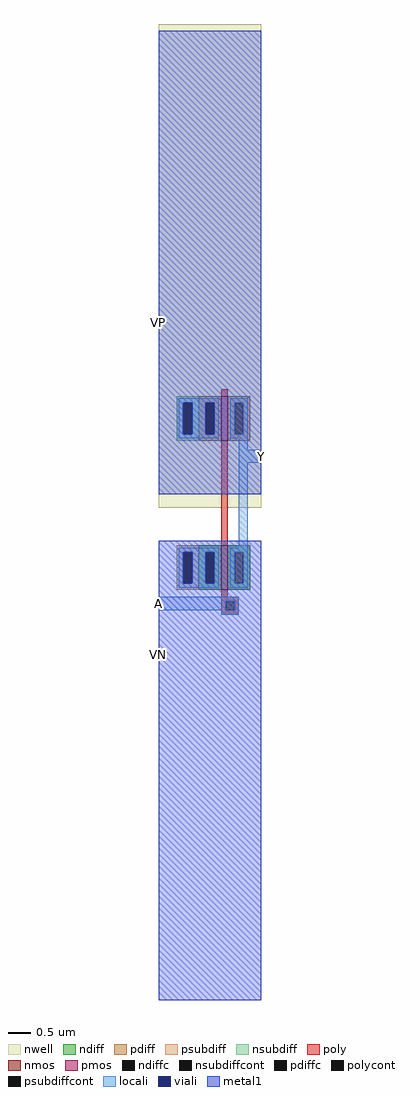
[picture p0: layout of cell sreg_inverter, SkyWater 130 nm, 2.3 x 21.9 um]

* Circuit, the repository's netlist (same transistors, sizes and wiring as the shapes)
* NGSPICE file created from sreg_inverter.ext - technology: sky130A

X0 Y A VN VN sky130_fd_pr__nfet_01v8 ad=0.5 pd=3 as=0.5 ps=3 w=1 l=0.15
X1 Y A VP VP sky130_fd_pr__pfet_01v8 ad=0.5 pd=3 as=0.5 ps=3 w=1 l=0.15

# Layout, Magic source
magic
tech sky130A
<< nwell >>
rect -35 1195 195 2280
<< nmos >>
rect 105 1010 120 1110
<< pmos >>
rect 105 1345 120 1445
<< ndiff >>
rect 55 1095 105 1110
rect 55 1025 70 1095
rect 90 1025 105 1095
rect 55 1010 105 1025
rect 120 1095 170 1110
rect 120 1025 135 1095
rect 155 1025 170 1095
rect 120 1010 170 1025
<< pdiff >>
rect 55 1430 105 1445
rect 55 1360 70 1430
rect 90 1360 105 1430
rect 55 1345 105 1360
rect 120 1430 170 1445
rect 120 1360 135 1430
rect 155 1360 170 1430
rect 120 1345 170 1360
<< ndiffc >>
rect 70 1025 90 1095
rect 135 1025 155 1095
<< pdiffc >>
rect 70 1360 90 1430
rect 135 1360 155 1430
<< psubdiff >>
rect 5 1095 55 1110
rect 5 1025 20 1095
rect 40 1025 55 1095
rect 5 1010 55 1025
<< nsubdiff >>
rect 5 1430 55 1445
rect 5 1360 20 1430
rect 40 1360 55 1430
rect 5 1345 55 1360
<< psubdiffcont >>
rect 20 1025 40 1095
<< nsubdiffcont >>
rect 20 1360 40 1430
<< poly >>
rect 105 1445 120 1460
rect 105 1110 120 1345
rect 105 995 120 1010
rect 105 985 145 995
rect 105 965 115 985
rect 135 965 145 985
rect 105 955 145 965
<< polycont >>
rect 115 965 135 985
<< locali >>
rect 10 1430 100 1440
rect 10 1360 20 1430
rect 40 1360 70 1430
rect 90 1360 100 1430
rect 10 1350 100 1360
rect 125 1430 165 1440
rect 125 1360 135 1430
rect 155 1360 165 1430
rect 125 1350 165 1360
rect 145 1325 165 1350
rect 145 1295 195 1325
rect 145 1105 165 1295
rect 10 1095 100 1105
rect 10 1025 20 1095
rect 40 1025 70 1095
rect 90 1025 100 1095
rect 10 1015 100 1025
rect 125 1095 165 1105
rect 125 1025 135 1095
rect 155 1025 165 1095
rect 125 1015 165 1025
rect -35 985 145 995
rect -35 965 115 985
rect 135 965 145 985
rect 105 955 145 965
<< viali >>
rect 20 1360 40 1430
rect 70 1360 90 1430
rect 20 1025 40 1095
rect 70 1025 90 1095
<< metal1 >>
rect -35 1430 195 2265
rect -35 1360 20 1430
rect 40 1360 70 1430
rect 90 1360 195 1430
rect -35 1225 195 1360
rect -35 1095 195 1120
rect -35 1025 20 1095
rect 40 1025 70 1095
rect 90 1025 195 1095
rect -35 90 195 1025
<< labels >>
rlabel metal1 -35 1610 -35 1610 7 VP
port 3 w
rlabel metal1 -35 865 -35 865 7 VN
port 4 w
rlabel locali 195 1310 195 1310 3 Y
port 2 e
rlabel locali -35 980 -35 980 7 A
port 1 w
<< end >>
